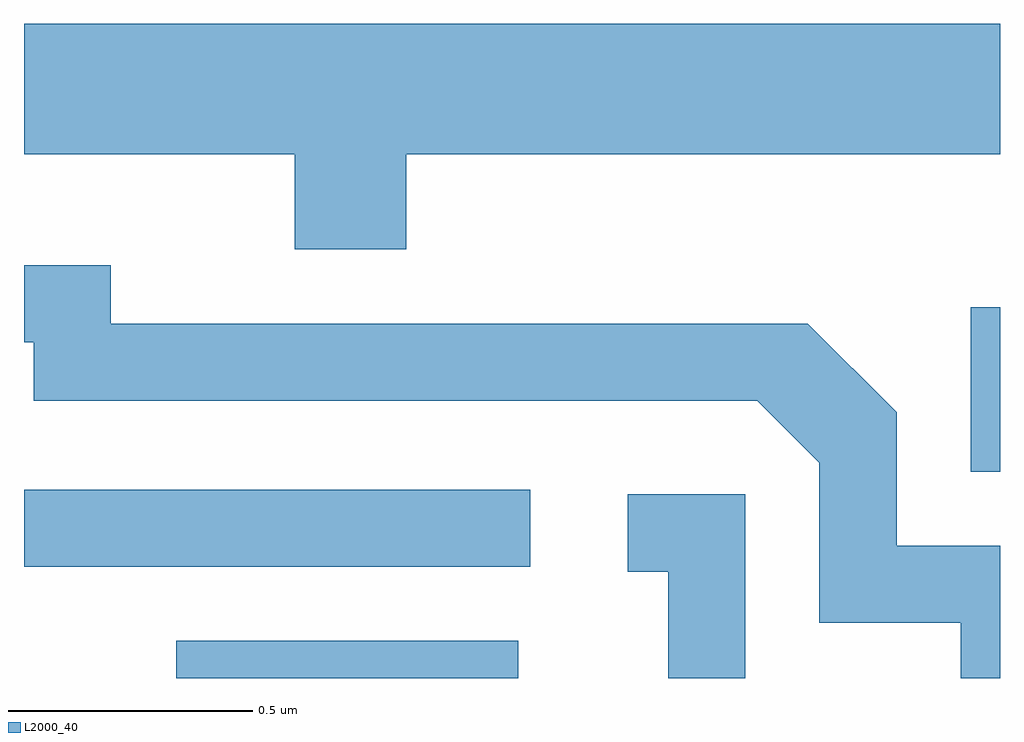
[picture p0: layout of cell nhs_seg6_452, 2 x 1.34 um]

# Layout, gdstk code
import gdstk
lib = gdstk.Library(unit=1e-6, precision=1e-09)
def R(c, l, rs):  # rectangles x0, y0, x1, y1
    for r in rs: c.add(gdstk.rectangle(r[:2], r[2:], *l))
def P(c, l, *ps):  # polygons
    for p in ps: c.add(gdstk.Polygon(p, *l))
L2000_40 = (2000, 40)

nhs_seg6_452 = lib.new_cell('nhs_seg6_452')
R(nhs_seg6_452, L2000_40, [(188.923,1571.162,189.624,1571.239), (188.611,1571.391,189.648,1571.549), (190.551,1571.586,190.611,1571.923)])
P(nhs_seg6_452, L2000_40, [(189.394,1572.236),(190.611,1572.236),(190.611,1572.504),(188.611,1572.504),(188.611,1572.236),(189.166,1572.236),(189.166,1572.041),(189.394,1572.041)],
  [(190.611,1571.434),(190.399,1571.434),(190.399,1571.707),(190.217,1571.889),(188.789,1571.889),(188.789,1572.009),(188.611,1572.009),(188.611,1571.851),(188.631,1571.851),(188.631,1571.731),(190.114,1571.731),(190.241,1571.604),(190.241,1571.276),(190.531,1571.276),(190.531,1571.162),(190.611,1571.162)],
  [(190.089,1571.539),(189.848,1571.539),(189.848,1571.381),(189.931,1571.381),(189.931,1571.162),(190.089,1571.162)])

lib.write_gds('nhs_seg6_452.gds')
